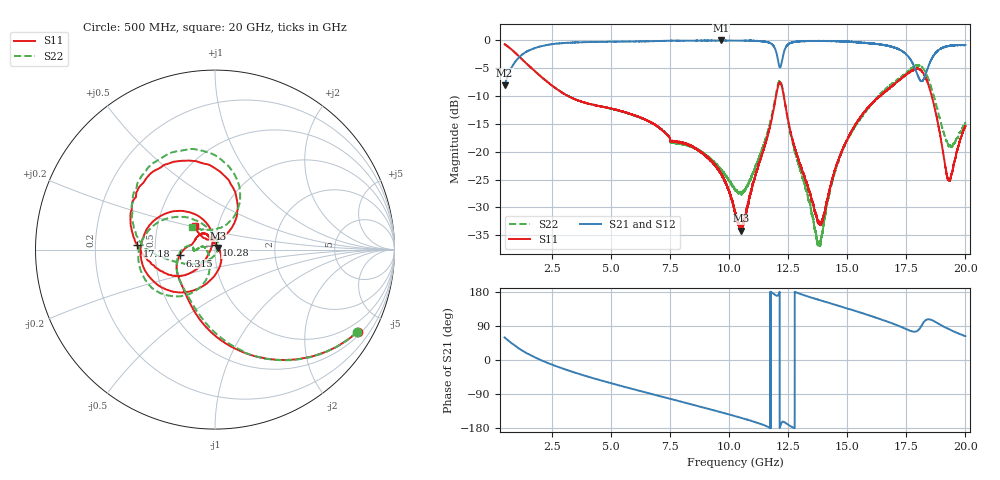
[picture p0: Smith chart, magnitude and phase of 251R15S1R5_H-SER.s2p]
!{251R15S1R5}
!Johanson Technology Inc.
!www.johansontechnology.com
!Test Board Conditions:
!Substrate Type  RO4350B
!Substrate Thickness  20 mil
!Substrate Dk  3.66
!TL Type: GCPW
!TL Trace Width  34 mil
!TL Gap  10 mil
!Electrode orientation  Horizontal
!DUT TOPOLOGY	SERIES
!Mounting Pad LxW  26x52 mil
! Created Thu Mar 12 16:35:40 2020
# mhz S ma R 50
! 2 Port Network Data from SP1.SP block
! freq  magS11  angS11  magS21  angS21  magS12  angS12  magS22  angS22
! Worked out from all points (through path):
!   19501 points, 500 MHz to 20 GHz, reference 50 ohm
!   highest |S21| = -0.08 dB at 9.655 GHz (marker M1); lowest = -8.1 dB at 500 MHz (marker M2)
!   group delay of S21, straight-line fit = 46.5 ps
!   lowest |S11| = -34.2 dB at 10.52 GHz (marker M3), VSWR 1.04, Z = 51.7 + j0.956 ohm
!   |S11| at or under -10 dB: 3.166 GHz to 11.99 GHz (8.824 GHz wide, 116 % of centre); 12.31 GHz to 16.41 GHz (4.098 GHz wide, 28.5 % of centre); 18.57 GHz to end of sweep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
!   |S22| runs from -36.9 to -0.8 dB; largest |S21 - S12| = 0.018
!   S11 on the Smith chart (normalised r, x): 500 MHz: 0.63, -3.63; 6.315 GHz: 0.67, -0.05; 10.28 GHz: 1.01, +0.05; 17.18 GHz: 0.39, +0.02; 20 GHz: 0.78, +0.21
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500  0.9172 -30.0  0.3936 59.6  0.3947 59.6  0.9149 -30.1
1870  0.5057 -86.3  0.8588 4.5  0.8599 4.5  0.5047 -84.5
3750  0.2806 -128.9  0.9535 -38.7  0.9542 -38.7  0.2805 -127.7
6315  0.1992 -170.7  0.9713 -83.0  0.9739 -83.0  0.1982 -174.7
7000  0.1664 177.5  0.9787 -94.2  0.9792 -94.2  0.1664 175.2
9655  0.0638 111.0  0.9907 -137.9  0.9887 -138.0  0.06924 166.2
10250  0.0289 80.3  0.9891 -148.0  0.9879 -148.1  0.0454 -177.9
10283  0.02722 75.8  0.9887 -148.7  0.9898 -148.7  0.04505 -177.6
10517  0.01955 28.2  0.9872 -152.8  0.989 -152.8  0.04216 -156.1
11694  0.1562 -94.1  0.947 -178.0  0.9474 -177.9  0.1684 -105.8
12144  0.4172 -174.9  0.5687 -179.0  0.5721 -179.4  0.4314 -166.9
12374  0.2652 126.9  0.8405 -165.4  0.8404 -165.8  0.2666 136.3
13500  0.03617 112.3  0.9805 164.3  0.9796 164.4  0.02777 47.7
13827  0.02257 154.8  0.9784 158.2  0.9806 158.2  0.01503 -27.3
14881  0.1136 -132.2  0.9684 138.2  0.9696 138.2  0.1115 -137.3
16750  0.3673 -168.2  0.887 100.4  0.8781 99.8  0.3846 179.5
17183  0.4342 176.9  0.8261 89.8  0.8178 89.8  0.4498 168.5
17804  0.5411 143.9  0.5994 74.7  0.5925 75.4  0.5764 136.1
18285  0.4759 94.9  0.4726 103.1  0.4708 103.7  0.5258 89.9
18639  0.2788 63.1  0.7158 103.7  0.7191 103.7  0.3261 64.6
19291  0.05576 92.1  0.8834 81.6  0.884 81.9  0.1124 86.8
20000  0.1701 130.2  0.8994 62.7  0.8978 62.8  0.1809 136.0
